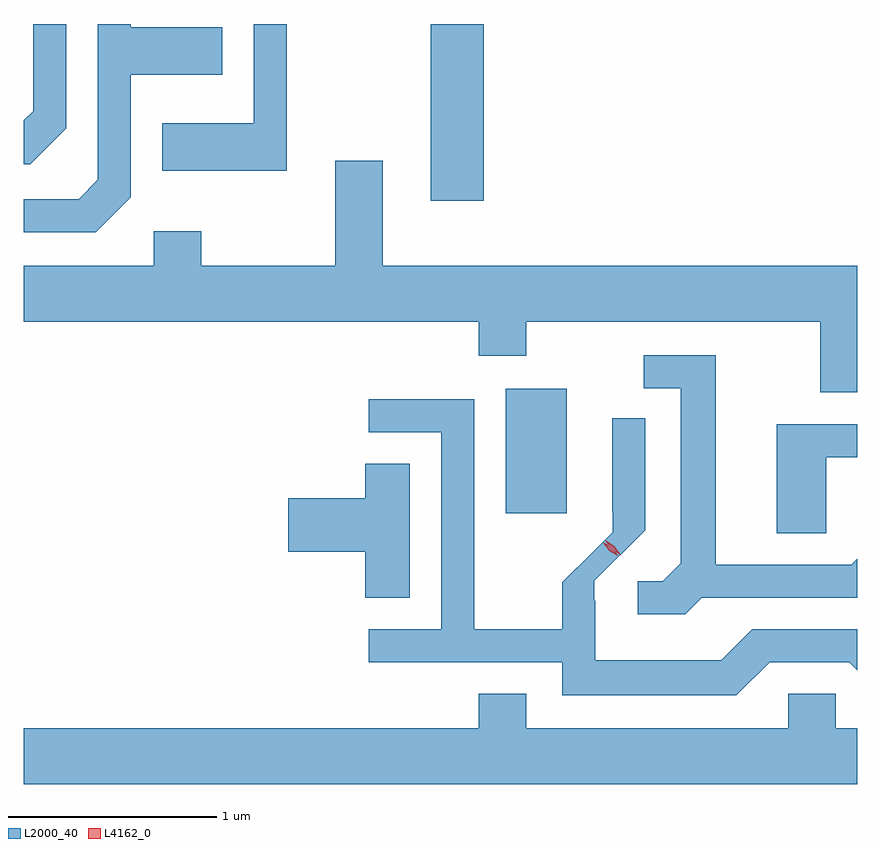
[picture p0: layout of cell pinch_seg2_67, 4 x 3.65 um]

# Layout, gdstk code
import gdstk
lib = gdstk.Library(unit=1e-6, precision=1e-09)
def R(c, l, rs):  # rectangles x0, y0, x1, y1
    for r in rs: c.add(gdstk.rectangle(r[:2], r[2:], *l))
def P(c, l, *ps):  # polygons
    for p in ps: c.add(gdstk.Polygon(p, *l))
L2000_40 = (2000, 40)
L4162_0 = (4162, 0)

pinch_seg2_67 = lib.new_cell('pinch_seg2_67')
R(pinch_seg2_67, L2000_40, [(1125.431,987.456,1125.724,988.054), (1125.071,988.956,1125.324,989.805)])
P(pinch_seg2_67, L2000_40, [(1123.319,989.304),(1123.319,989.805),(1123.161,989.805),(1123.161,989.387),(1123.117,989.343),(1123.117,989.131),(1123.147,989.131)],
  [(1124.379,989.805),(1124.221,989.805),(1124.221,989.329),(1123.781,989.329),(1123.781,989.101),(1124.379,989.101)],
  [(1123.629,988.974),(1123.629,989.561),(1124.069,989.561),(1124.069,989.789),(1123.629,989.789),(1123.629,989.805),(1123.471,989.805),(1123.471,989.057),(1123.379,988.964),(1123.117,988.964),(1123.117,988.806),(1123.462,988.806)],
  [(1127.117,988.644),(1124.839,988.644),(1124.839,989.149),(1124.611,989.149),(1124.611,988.644),(1123.969,988.644),(1123.969,988.809),(1123.741,988.809),(1123.741,988.644),(1123.117,988.644),(1123.117,988.376),(1125.301,988.376),(1125.301,988.211),(1125.529,988.211),(1125.529,988.376),(1126.941,988.376),(1126.941,988.036),(1127.117,988.036)],
  [(1126.372,987.051),(1127.117,987.051),(1127.117,987.237),(1127.089,987.209),(1126.439,987.209),(1126.439,988.214),(1126.093,988.214),(1126.093,988.056),(1126.271,988.056),(1126.271,987.217),(1126.184,987.129),(1126.063,987.129),(1126.063,986.971),(1126.292,986.971)],
  [(1126.697,986.741),(1127.079,986.741),(1127.117,986.703),(1127.117,986.899),(1126.614,986.899),(1126.464,986.749),(1125.859,986.749),(1125.859,987.036),(1125.855,987.036),(1125.855,987.131),(1126.099,987.375),(1126.099,987.913),(1125.941,987.913),(1125.941,987.46),(1125.944,987.46),(1125.944,987.365),(1125.773,987.194),(1125.771,987.195),(1125.701,987.125),(1125.701,986.899),(1125.279,986.899),(1125.279,988.004),(1124.773,988.004),(1124.773,987.846),(1125.121,987.846),(1125.121,986.899),(1124.773,986.899),(1124.773,986.741),(1125.701,986.741),(1125.701,986.581),(1126.537,986.581)],
  [(1126.969,987.726),(1127.117,987.726),(1127.117,987.884),(1126.731,987.884),(1126.731,987.361),(1126.969,987.361)],
  [(1124.969,987.694),(1124.756,987.694),(1124.756,987.529),(1124.386,987.529),(1124.386,987.271),(1124.756,987.271),(1124.756,987.051),(1124.969,987.051)],
  [(1127.117,986.424),(1127.014,986.424),(1127.014,986.589),(1126.786,986.589),(1126.786,986.424),(1125.529,986.424),(1125.529,986.589),(1125.301,986.589),(1125.301,986.424),(1123.117,986.424),(1123.117,986.156),(1127.117,986.156)])
P(pinch_seg2_67, L4162_0, [(1125.967,987.251),(1125.927,987.275),(1125.901,987.313),(1125.901,987.314),(1125.902,987.314),(1125.942,987.29),(1125.968,987.252),(1125.968,987.251)],
  [(1125.98,987.257),(1125.937,987.285),(1125.907,987.326),(1125.907,987.327),(1125.908,987.327),(1125.95,987.299),(1125.98,987.258),(1125.98,987.257)])

lib.write_gds('pinch_seg2_67.gds')
